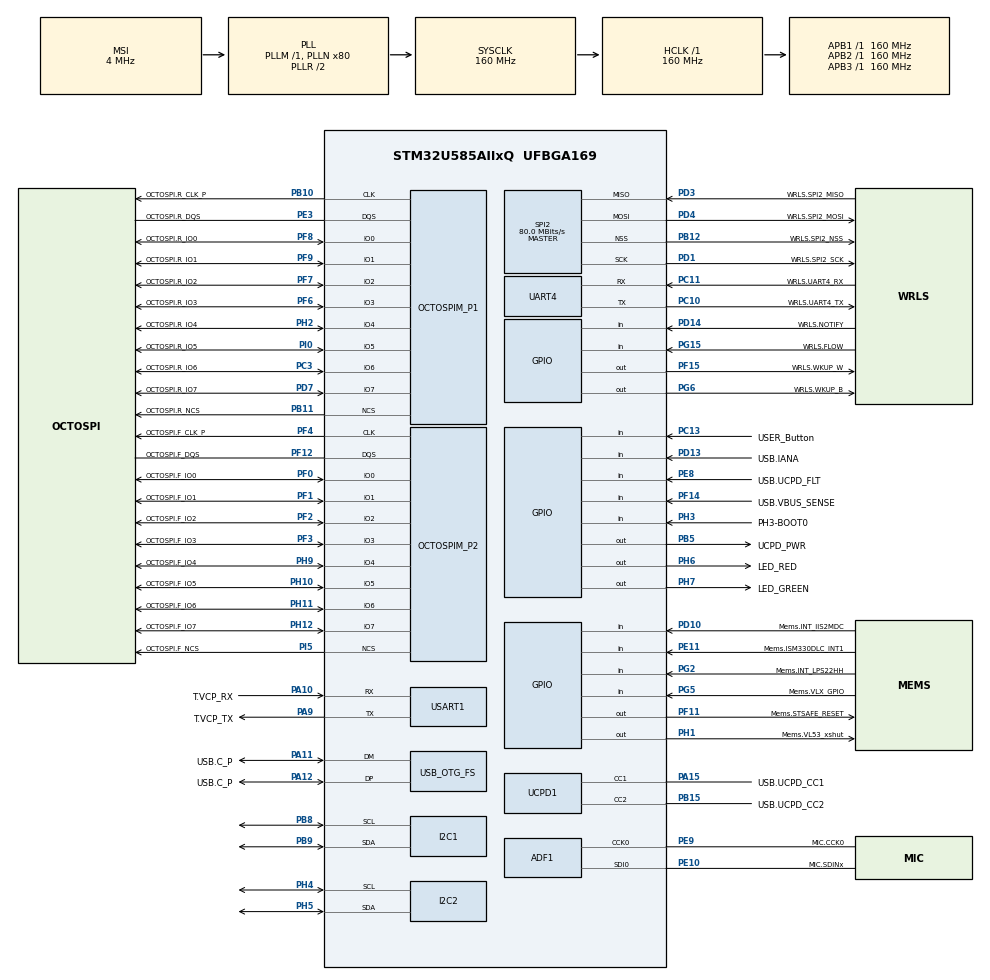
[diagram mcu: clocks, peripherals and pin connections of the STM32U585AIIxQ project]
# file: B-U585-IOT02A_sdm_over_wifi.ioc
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CORTEX_M33_NS.userName=CORTEX_M33
I2C1.Timing=0x30909DEC
I2C2.Timing=0x30909DEC
Mcu.Family=STM32U5
Mcu.Name=STM32U585AIIxQ
Mcu.Package=UFBGA169
NVIC.PriorityGroup=NVIC_PRIORITYGROUP_4
OCTOSPI1.ChipSelectBoundary=10
OCTOSPI1.ClockPrescaler=2
OCTOSPI1.DelayBlockBypass=HAL_OSPI_DELAY_BLOCK_USED
OCTOSPI1.DelayHoldQuarterCycle=HAL_OSPI_DHQC_ENABLE
OCTOSPI1.DeviceSize=23
OCTOSPI1.MemoryType=HAL_OSPI_MEMTYPE_APMEMORY
OCTOSPI1.Refresh=100
OCTOSPI2.ChipSelectBoundary=0
OCTOSPI2.ChipSelectHighTime=2
OCTOSPI2.ClockPrescaler=4
OCTOSPI2.DelayBlockBypass=HAL_OSPI_DELAY_BLOCK_USED
OCTOSPI2.DelayHoldQuarterCycle=HAL_OSPI_DHQC_ENABLE
OCTOSPI2.DeviceSize=26
OCTOSPI2.FifoThreshold=4
OCTOSPI2.MemoryType=HAL_OSPI_MEMTYPE_MACRONIX
PA10.GPIO_Label=T.VCP_RX
PA10.Mode=Asynchronous
PA10.Signal=USART1_RX
PA11.GPIO_Label=USB.C_P
PA11.Mode=Device_Only
PA11.Signal=USB_OTG_FS_DM
PA12.GPIO_Label=USB.C_P
PA12.Mode=Device_Only
PA12.Signal=USB_OTG_FS_DP
PA13\ (JTMS/SWDIO).GPIO_Label=T.SWDIO
PA13\ (JTMS/SWDIO).Mode=Trace_Asynchronous_SW
PA13\ (JTMS/SWDIO).Signal=DEBUG_JTMS-SWDIO
PA14\ (JTCK/SWCLK).GPIO_Label=T.SWCLK
PA14\ (JTCK/SWCLK).Mode=Trace_Asynchronous_SW
PA14\ (JTCK/SWCLK).Signal=DEBUG_JTCK-SWCLK
PA15\ (JTDI).GPIO_Label=USB.UCPD_CC1
PA15\ (JTDI).Mode=Dual_Role_AllSignals
PA15\ (JTDI).Signal=UCPD1_CC1
PA9.GPIO_Label=T.VCP_TX
PA9.Mode=Asynchronous
PA9.Signal=USART1_TX
PB1.GPIO_Label=MIC.SDIN0
PB1.Signal=MDF1_SDI0
PB10.GPIO_Label=OCTOSPI.R_CLK_P
PB10.Mode=O1_P1_CLK
PB10.Signal=OCTOSPIM_P1_CLK
PB11.GPIO_Label=OCTOSPI.R_NCS
PB11.Mode=OCTOSPI1_Port1_NCS
PB11.Signal=OCTOSPIM_P1_NCS
PB12.GPIO_Label=WRLS.SPI2_NSS
PB12.Mode=NSS_Signal_Hard_Output
PB12.Signal=SPI2_NSS
PB15.GPIO_Label=USB.UCPD_CC2
PB15.Mode=Dual_Role_AllSignals
PB15.Signal=UCPD1_CC2
PB3\ (JTDO/TRACESWO).GPIO_Label=T.SWO
PB3\ (JTDO/TRACESWO).Mode=Trace_Asynchronous_SW
PB3\ (JTDO/TRACESWO).Signal=DEBUG_JTDO-SWO
PB5.GPIO_Label=UCPD_PWR
PB5.Signal=GPIO_Output
PB8.Mode=I2C
PB8.Signal=I2C1_SCL
PB9.Mode=I2C
PB9.Signal=I2C1_SDA
PC10.GPIO_Label=WRLS.UART4_TX
PC10.Mode=Asynchronous
PC10.Signal=UART4_TX
PC11.GPIO_Label=WRLS.UART4_RX
PC11.Mode=Asynchronous
PC11.Signal=UART4_RX
PC13.GPIO_Label=USER_Button
PC13.Signal=GPIO_Input
PC14-OSC32_IN\ (PC14).GPIO_Label=PC14-OSC32_IN
PC14-OSC32_IN\ (PC14).Mode=LSE-External-Oscillator
PC14-OSC32_IN\ (PC14).Signal=RCC_OSC32_IN
PC15-OSC32_OUT\ (PC15).GPIO_Label=PC15-OSC32_OUT
PC15-OSC32_OUT\ (PC15).Mode=LSE-External-Oscillator
PC15-OSC32_OUT\ (PC15).Signal=RCC_OSC32_OUT
PC3.GPIO_Label=OCTOSPI.R_IO6
PC3.Mode=OCTOSPI1_IOH_Port1H
PC3.Signal=OCTOSPIM_P1_IO6
PD1.GPIO_Label=WRLS.SPI2_SCK
PD1.Mode=Full_Duplex_Master
PD1.Signal=SPI2_SCK
PD10.GPIO_Label=Mems.INT_IIS2MDC
PD10.Signal=GPIO_Input
PD13.GPIO_Label=USB.IANA
PD13.Signal=GPIO_Input
PD14.GPIO_Label=WRLS.NOTIFY
PD14.Signal=GPIO_Input
PD3.GPIO_Label=WRLS.SPI2_MISO
PD3.Mode=Full_Duplex_Master
PD3.Signal=SPI2_MISO
PD4.GPIO_Label=WRLS.SPI2_MOSI
PD4.Mode=Full_Duplex_Master
PD4.Signal=SPI2_MOSI
PD7.GPIO_Label=OCTOSPI.R_IO7
PD7.Mode=OCTOSPI1_IOH_Port1H
PD7.Signal=OCTOSPIM_P1_IO7
PE10.GPIO_Label=MIC.SDINx
PE10.Mode=MOD_ADF_CCK
PE10.Signal=ADF1_SDI0
PE11.GPIO_Label=Mems.ISM330DLC_INT1
PE11.Signal=GPIO_Input
PE3.GPIO_Label=OCTOSPI.R_DQS
PE3.Mode=OCTOSPI1_Port1_DQS
PE3.Signal=OCTOSPIM_P1_DQS
PE8.GPIO_Label=USB.UCPD_FLT
PE8.Signal=GPIO_Input
PE9.GPIO_Label=MIC.CCK0
PE9.Mode=MOD_MDF_CCK0
PE9.Signal=ADF1_CCK0
PF0.GPIO_Label=OCTOSPI.F_IO0
PF0.Mode=OCTOSPI2_IOL_Port2L
PF0.Signal=OCTOSPIM_P2_IO0
PF1.GPIO_Label=OCTOSPI.F_IO1
PF1.Mode=OCTOSPI2_IOL_Port2L
PF1.Signal=OCTOSPIM_P2_IO1
PF10.GPIO_Label=MIC.CCK1
PF10.Signal=MDF1_CCK1
PF11.GPIO_Label=Mems.STSAFE_RESET
PF11.Signal=GPIO_Output
PF12.GPIO_Label=OCTOSPI.F_DQS
PF12.Mode=OCTOSPI2_Port2_DQS
PF12.Signal=OCTOSPIM_P2_DQS
PF14.GPIO_Label=USB.VBUS_SENSE
PF14.Signal=GPIO_Input
PF15.GPIO_Label=WRLS.WKUP_W
PF15.Signal=GPIO_Output
PF2.GPIO_Label=OCTOSPI.F_IO2
PF2.Mode=OCTOSPI2_IOL_Port2L
PF2.Signal=OCTOSPIM_P2_IO2
PF3.GPIO_Label=OCTOSPI.F_IO3
PF3.Mode=OCTOSPI2_IOL_Port2L
PF3.Signal=OCTOSPIM_P2_IO3
PF4.GPIO_Label=OCTOSPI.F_CLK_P
PF4.Mode=O2_P2_CLK
PF4.Signal=OCTOSPIM_P2_CLK
PF6.GPIO_Label=OCTOSPI.R_IO3
PF6.Mode=OCTOSPI1_IOL_Port1L
PF6.Signal=OCTOSPIM_P1_IO3
PF7.GPIO_Label=OCTOSPI.R_IO2
PF7.Mode=OCTOSPI1_IOL_Port1L
PF7.Signal=OCTOSPIM_P1_IO2
PF8.GPIO_Label=OCTOSPI.R_IO0
PF8.Mode=OCTOSPI1_IOL_Port1L
PF8.Signal=OCTOSPIM_P1_IO0
PF9.GPIO_Label=OCTOSPI.R_IO1
PF9.Mode=OCTOSPI1_IOL_Port1L
PF9.Signal=OCTOSPIM_P1_IO1
PG15.GPIO_Label=WRLS.FLOW
PG15.Signal=GPIO_Input
PG2.GPIO_Label=Mems.INT_LPS22HH
PG2.Signal=GPIO_Input
PG5.GPIO_Label=Mems.VLX_GPIO
PG5.Signal=GPIO_Input
PG6.GPIO_Label=WRLS.WKUP_B
PG6.Signal=GPIO_Output
PH1-OSC_OUT\ (PH1).GPIO_Label=Mems.VL53_xshut
PH1-OSC_OUT\ (PH1).Signal=GPIO_Output
PH10.GPIO_Label=OCTOSPI.F_IO5
PH10.Mode=OCTOSPI2_IOH_Port2H
PH10.Signal=OCTOSPIM_P2_IO5
PH11.GPIO_Label=OCTOSPI.F_IO6
PH11.Mode=OCTOSPI2_IOH_Port2H
PH11.Signal=OCTOSPIM_P2_IO6
PH12.GPIO_Label=OCTOSPI.F_IO7
PH12.Mode=OCTOSPI2_IOH_Port2H
PH12.Signal=OCTOSPIM_P2_IO7
PH2.GPIO_Label=OCTOSPI.R_IO4
PH2.Mode=OCTOSPI1_IOH_Port1H
PH2.Signal=OCTOSPIM_P1_IO4
PH3-BOOT0.GPIO_Label=PH3-BOOT0
PH3-BOOT0.Signal=GPIO_Input
PH4.Mode=I2C
PH4.Signal=I2C2_SCL
PH5.Mode=I2C
PH5.Signal=I2C2_SDA
PH6.GPIO_Label=LED_RED
PH6.Signal=GPIO_Output
PH7.GPIO_Label=LED_GREEN
PH7.Signal=GPIO_Output
PH9.GPIO_Label=OCTOSPI.F_IO4
PH9.Mode=OCTOSPI2_IOH_Port2H
PH9.Signal=OCTOSPIM_P2_IO4
PI0.GPIO_Label=OCTOSPI.R_IO5
PI0.Mode=OCTOSPI1_IOH_Port1H
PI0.Signal=OCTOSPIM_P1_IO5
PI5.GPIO_Label=OCTOSPI.F_NCS
PI5.Mode=OCTOSPI2_Port2_NCS
PI5.Signal=OCTOSPIM_P2_NCS
PWR.PowerMode=PWR_SMPS_SUPPLY
ProjectManager.HeapSize=0x200
ProjectManager.StackSize=0x400
ProjectManager.TargetToolchain=STM32CubeIDE
RCC.ADCFreq_Value=16000000
RCC.AHBFreq_Value=160000000
RCC.APB1Freq_Value=160000000
RCC.APB1TimFreq_Value=160000000
RCC.APB2Freq_Value=160000000
RCC.APB2TimFreq_Value=160000000
RCC.APB3Freq_Value=160000000
RCC.CortexFreq_Value=160000000
RCC.DACCLockSelectionVirtual=RCC_DAC1CLKSOURCE_LSI
RCC.EPOD_VALUE=4000000
RCC.HCLKFreq_Value=160000000
RCC.HSE_VALUE=16000000
RCC.HSI48_VALUE=48000000
RCC.HSI_VALUE=16000000
RCC.LSIDIV_VALUE=32000
RCC.MSI_VALUE=4000000
RCC.PLLN=80
RCC.SYSCLKFreq_VALUE=160000000
RCC.SYSCLKSource=RCC_SYSCLKSOURCE_PLLCLK
RCC.USBFreq_Value=48000000
RCC.VCOOutputFreq_Value=320000000
SPI2.CalculateBaudRate=80.0 MBits/s
SPI2.Direction=SPI_DIRECTION_2LINES
SPI2.Mode=SPI_MODE_MASTER
SPI2.VirtualNSS=VM_NSSHARD
SPI2.VirtualType=VM_MASTER
USART1.VirtualMode-Asynchronous=VM_ASYNC
USB_OTG_FS.VirtualMode=Device_Only
VP_ICACHE_VS_ICACHE.Mode=DirectMappedCache
VP_LPBAMQUEUE_VS_QUEUE.Mode=QUEUEMODE
VP_LPBAM_VS_SIG1.Mode=SmartRun
VP_LPBAM_VS_SIG4.Mode=LPDMA1
VP_MEMORYMAP_VS_MEMORYMAP.Mode=CurAppReg
VP_OCTOSPI1_VS_octo.Mode=octo_mode
VP_OCTOSPI2_VS_octo.Mode=octo_mode
VP_PWR_VS_DBSignals.Mode=DisableDeadBatterySignals
VP_PWR_VS_LPOM.Mode=PowerOptimisation
VP_PWR_VS_SECSignals.Mode=Security/Privilege
board=B-U585I-IOT02A

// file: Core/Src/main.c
/* USER CODE BEGIN Header */
/**
  ******************************************************************************
  * @file           : main.c
  * @brief          : Main program body
  ******************************************************************************
  * @attention
  *
  * Copyright (c) 2024 STMicroelectronics.
  * All rights reserved.
  *
  * This software is licensed under terms that can be found in the LICENSE file
  * in the root directory of this software component.
  * If no LICENSE file comes with this software, it is provided AS-IS.
  *
  ******************************************************************************
  */
/* USER CODE END Header */
#include "main.h"

/* USER CODE BEGIN Includes */
#include "app.h"
#include "app_init.h"
/* USER CODE END Includes */

MDF_HandleTypeDef AdfHandle0;
MDF_FilterConfigTypeDef AdfFilterConfig0;

I2C_HandleTypeDef hi2c1;
I2C_HandleTypeDef hi2c2;

OSPI_HandleTypeDef hospi1;
OSPI_HandleTypeDef hospi2;

SPI_HandleTypeDef hspi2;

UART_HandleTypeDef huart4;
UART_HandleTypeDef huart1;

PCD_HandleTypeDef hpcd_USB_OTG_FS;

void SystemClock_Config(void);
static void SystemPower_Config(void);
static void MX_GPIO_Init(void);
static void MX_ADF1_Init(void);
static void MX_I2C1_Init(void);
static void MX_I2C2_Init(void);
static void MX_ICACHE_Init(void);
static void MX_OCTOSPI1_Init(void);
static void MX_OCTOSPI2_Init(void);
static void MX_SPI2_Init(void);
static void MX_UART4_Init(void);
static void MX_USART1_UART_Init(void);
static void MX_UCPD1_Init(void);
static void MX_USB_OTG_FS_PCD_Init(void);

int main(void)
{

  /* MCU Configuration--------------------------------------------------------*/

  /* Reset of all peripherals, Initializes the Flash interface and the Systick. */
  HAL_Init();

  /* Configure the system clock */
  SystemClock_Config();

  /* Configure the System Power */
  SystemPower_Config();

  /* Initialize all configured peripherals */
  MX_GPIO_Init();
  MX_ADF1_Init();
  MX_I2C1_Init();
  MX_I2C2_Init();
  MX_ICACHE_Init();
  MX_OCTOSPI1_Init();
  MX_OCTOSPI2_Init();
  MX_SPI2_Init();
  MX_UART4_Init();
  MX_USART1_UART_Init();
  MX_UCPD1_Init();
  MX_USB_OTG_FS_PCD_Init();

  /* Infinite loop */
  /* USER CODE BEGIN WHILE */

  int8_t init_status=module_init(); // initialization of the module

  if(init_status==0){
	  int8_t app_status=app_main(); // launching the application

	  if(app_status==0){
		  HAL_GPIO_TogglePin(GPIOH, GPIO_PIN_7); // if success --> turn on the green LED
	  }
	  else {
		  HAL_GPIO_TogglePin(GPIOH, GPIO_PIN_6); // if an error occurred --> turn on the red LED
	  }
  }

  while (1)
  {
    /* USER CODE END WHILE */

  }
}

void SystemClock_Config(void)
{
  RCC_OscInitTypeDef RCC_OscInitStruct = {0};
  RCC_ClkInitTypeDef RCC_ClkInitStruct = {0};

  /** Configure the main internal regulator output voltage
  */
  if (HAL_PWREx_ControlVoltageScaling(PWR_REGULATOR_VOLTAGE_SCALE1) != HAL_OK)
  {
    Error_Handler();
  }

  /** Initializes the CPU, AHB and APB buses clocks
  */
  RCC_OscInitStruct.OscillatorType = RCC_OSCILLATORTYPE_HSI48|RCC_OSCILLATORTYPE_HSI
                              |RCC_OSCILLATORTYPE_MSI;
  RCC_OscInitStruct.HSIState = RCC_HSI_ON;
  RCC_OscInitStruct.HSI48State = RCC_HSI48_ON;
  RCC_OscInitStruct.HSICalibrationValue = RCC_HSICALIBRATION_DEFAULT;
  RCC_OscInitStruct.MSIState = RCC_MSI_ON;
  RCC_OscInitStruct.MSICalibrationValue = RCC_MSICALIBRATION_DEFAULT;
  RCC_OscInitStruct.MSIClockRange = RCC_MSIRANGE_4;
  RCC_OscInitStruct.PLL.PLLState = RCC_PLL_ON;
  RCC_OscInitStruct.PLL.PLLSource = RCC_PLLSOURCE_MSI;
  RCC_OscInitStruct.PLL.PLLMBOOST = RCC_PLLMBOOST_DIV1;
  RCC_OscInitStruct.PLL.PLLM = 1;
  RCC_OscInitStruct.PLL.PLLN = 80;
  RCC_OscInitStruct.PLL.PLLP = 2;
  RCC_OscInitStruct.PLL.PLLQ = 2;
  RCC_OscInitStruct.PLL.PLLR = 2;
  RCC_OscInitStruct.PLL.PLLRGE = RCC_PLLVCIRANGE_0;
  RCC_OscInitStruct.PLL.PLLFRACN = 0;
  if (HAL_RCC_OscConfig(&RCC_OscInitStruct) != HAL_OK)
  {
    Error_Handler();
  }

  /** Initializes the CPU, AHB and APB buses clocks
  */
  RCC_ClkInitStruct.ClockType = RCC_CLOCKTYPE_HCLK|RCC_CLOCKTYPE_SYSCLK
                              |RCC_CLOCKTYPE_PCLK1|RCC_CLOCKTYPE_PCLK2
                              |RCC_CLOCKTYPE_PCLK3;
  RCC_ClkInitStruct.SYSCLKSource = RCC_SYSCLKSOURCE_PLLCLK;
  RCC_ClkInitStruct.AHBCLKDivider = RCC_SYSCLK_DIV1;
  RCC_ClkInitStruct.APB1CLKDivider = RCC_HCLK_DIV1;
  RCC_ClkInitStruct.APB2CLKDivider = RCC_HCLK_DIV1;
  RCC_ClkInitStruct.APB3CLKDivider = RCC_HCLK_DIV1;

  if (HAL_RCC_ClockConfig(&RCC_ClkInitStruct, FLASH_LATENCY_4) != HAL_OK)
  {
    Error_Handler();
  }
}

/**
  * @brief Power Configuration
  * @retval None
  */
static void SystemPower_Config(void)
{
  HAL_PWREx_EnableVddIO2();

  /*
   * Switch to SMPS regulator instead of LDO
   */
  if (HAL_PWREx_ConfigSupply(PWR_SMPS_SUPPLY) != HAL_OK)
  {
    Error_Handler();
  }
}

static void MX_ADF1_Init(void)
{

  /**
    AdfHandle0 structure initialization and HAL_MDF_Init function call
  */
  AdfHandle0.Instance = ADF1_Filter0;
  AdfHandle0.Init.CommonParam.ProcClockDivider = 1;
  AdfHandle0.Init.CommonParam.OutputClock.Activation = DISABLE;
  AdfHandle0.Init.SerialInterface.Activation = ENABLE;
  AdfHandle0.Init.SerialInterface.Mode = MDF_SITF_LF_MASTER_SPI_MODE;
  AdfHandle0.Init.SerialInterface.ClockSource = MDF_SITF_CCK0_SOURCE;
  AdfHandle0.Init.SerialInterface.Threshold = 4;
  AdfHandle0.Init.FilterBistream = MDF_BITSTREAM0_FALLING;
  if (HAL_MDF_Init(&AdfHandle0) != HAL_OK)
  {
    Error_Handler();
  }

  /**
    AdfFilterConfig0 structure initialization

    WARNING : only structure is filled, no specific init function call for filter
  */
  AdfFilterConfig0.DataSource = MDF_DATA_SOURCE_BSMX;
  AdfFilterConfig0.Delay = 0;
  AdfFilterConfig0.CicMode = MDF_ONE_FILTER_SINC4;
  AdfFilterConfig0.DecimationRatio = 2;
  AdfFilterConfig0.Gain = 0;
  AdfFilterConfig0.ReshapeFilter.Activation = DISABLE;
  AdfFilterConfig0.HighPassFilter.Activation = DISABLE;
  AdfFilterConfig0.SoundActivity.Activation = DISABLE;
  AdfFilterConfig0.AcquisitionMode = MDF_MODE_ASYNC_CONT;
  AdfFilterConfig0.FifoThreshold = MDF_FIFO_THRESHOLD_NOT_EMPTY;
  AdfFilterConfig0.DiscardSamples = 0;

}

static void MX_I2C1_Init(void)
{

  hi2c1.Instance = I2C1;
  hi2c1.Init.Timing = 0x30909DEC;
  hi2c1.Init.OwnAddress1 = 0;
  hi2c1.Init.AddressingMode = I2C_ADDRESSINGMODE_7BIT;
  hi2c1.Init.DualAddressMode = I2C_DUALADDRESS_DISABLE;
  hi2c1.Init.OwnAddress2 = 0;
  hi2c1.Init.OwnAddress2Masks = I2C_OA2_NOMASK;
  hi2c1.Init.GeneralCallMode = I2C_GENERALCALL_DISABLE;
  hi2c1.Init.NoStretchMode = I2C_NOSTRETCH_DISABLE;
  if (HAL_I2C_Init(&hi2c1) != HAL_OK)
  {
    Error_Handler();
  }

  /** Configure Analogue filter
  */
  if (HAL_I2CEx_ConfigAnalogFilter(&hi2c1, I2C_ANALOGFILTER_ENABLE) != HAL_OK)
  {
    Error_Handler();
  }

  /** Configure Digital filter
  */
  if (HAL_I2CEx_ConfigDigitalFilter(&hi2c1, 0) != HAL_OK)
  {
    Error_Handler();
  }

}

static void MX_I2C2_Init(void)
{

  hi2c2.Instance = I2C2;
  hi2c2.Init.Timing = 0x30909DEC;
  hi2c2.Init.OwnAddress1 = 0;
  hi2c2.Init.AddressingMode = I2C_ADDRESSINGMODE_7BIT;
  hi2c2.Init.DualAddressMode = I2C_DUALADDRESS_DISABLE;
  hi2c2.Init.OwnAddress2 = 0;
  hi2c2.Init.OwnAddress2Masks = I2C_OA2_NOMASK;
  hi2c2.Init.GeneralCallMode = I2C_GENERALCALL_DISABLE;
  hi2c2.Init.NoStretchMode = I2C_NOSTRETCH_DISABLE;
  if (HAL_I2C_Init(&hi2c2) != HAL_OK)
  {
    Error_Handler();
  }

  /** Configure Analogue filter
  */
  if (HAL_I2CEx_ConfigAnalogFilter(&hi2c2, I2C_ANALOGFILTER_ENABLE) != HAL_OK)
  {
    Error_Handler();
  }

  /** Configure Digital filter
  */
  if (HAL_I2CEx_ConfigDigitalFilter(&hi2c2, 0) != HAL_OK)
  {
    Error_Handler();
  }

}

static void MX_ICACHE_Init(void)
{

  /** Enable instruction cache in 1-way (direct mapped cache)
  */
  if (HAL_ICACHE_ConfigAssociativityMode(ICACHE_1WAY) != HAL_OK)
  {
    Error_Handler();
  }
  if (HAL_ICACHE_Enable() != HAL_OK)
  {
    Error_Handler();
  }

}

static void MX_OCTOSPI1_Init(void)
{

  OSPIM_CfgTypeDef sOspiManagerCfg = {0};
  HAL_OSPI_DLYB_CfgTypeDef HAL_OSPI_DLYB_Cfg_Struct = {0};

  /* OCTOSPI1 parameter configuration*/
  hospi1.Instance = OCTOSPI1;
  hospi1.Init.FifoThreshold = 1;
  hospi1.Init.DualQuad = HAL_OSPI_DUALQUAD_DISABLE;
  hospi1.Init.MemoryType = HAL_OSPI_MEMTYPE_APMEMORY;
  hospi1.Init.DeviceSize = 23;
  hospi1.Init.ChipSelectHighTime = 1;
  hospi1.Init.FreeRunningClock = HAL_OSPI_FREERUNCLK_DISABLE;
  hospi1.Init.ClockMode = HAL_OSPI_CLOCK_MODE_0;
  hospi1.Init.WrapSize = HAL_OSPI_WRAP_NOT_SUPPORTED;
  hospi1.Init.ClockPrescaler = 2;
  hospi1.Init.SampleShifting = HAL_OSPI_SAMPLE_SHIFTING_NONE;
  hospi1.Init.DelayHoldQuarterCycle = HAL_OSPI_DHQC_ENABLE;
  hospi1.Init.ChipSelectBoundary = 10;
  hospi1.Init.DelayBlockBypass = HAL_OSPI_DELAY_BLOCK_USED;
  hospi1.Init.MaxTran = 0;
  hospi1.Init.Refresh = 100;
  if (HAL_OSPI_Init(&hospi1) != HAL_OK)
  {
    Error_Handler();
  }
  sOspiManagerCfg.ClkPort = 1;
  sOspiManagerCfg.DQSPort = 1;
  sOspiManagerCfg.NCSPort = 1;
  sOspiManagerCfg.IOLowPort = HAL_OSPIM_IOPORT_1_LOW;
  sOspiManagerCfg.IOHighPort = HAL_OSPIM_IOPORT_1_HIGH;
  if (HAL_OSPIM_Config(&hospi1, &sOspiManagerCfg, HAL_OSPI_TIMEOUT_DEFAULT_VALUE) != HAL_OK)
  {
    Error_Handler();
  }
  HAL_OSPI_DLYB_Cfg_Struct.Units = 0;
  HAL_OSPI_DLYB_Cfg_Struct.PhaseSel = 0;
  if (HAL_OSPI_DLYB_SetConfig(&hospi1, &HAL_OSPI_DLYB_Cfg_Struct) != HAL_OK)
  {
    Error_Handler();
  }

}

static void MX_OCTOSPI2_Init(void)
{

  OSPIM_CfgTypeDef sOspiManagerCfg = {0};
  HAL_OSPI_DLYB_CfgTypeDef HAL_OSPI_DLYB_Cfg_Struct = {0};

  /* OCTOSPI2 parameter configuration*/
  hospi2.Instance = OCTOSPI2;
  hospi2.Init.FifoThreshold = 4;
  hospi2.Init.DualQuad = HAL_OSPI_DUALQUAD_DISABLE;
  hospi2.Init.MemoryType = HAL_OSPI_MEMTYPE_MACRONIX;
  hospi2.Init.DeviceSize = 26;
  hospi2.Init.ChipSelectHighTime = 2;
  hospi2.Init.FreeRunningClock = HAL_OSPI_FREERUNCLK_DISABLE;
  hospi2.Init.ClockMode = HAL_OSPI_CLOCK_MODE_0;
  hospi2.Init.WrapSize = HAL_OSPI_WRAP_NOT_SUPPORTED;
  hospi2.Init.ClockPrescaler = 4;
  hospi2.Init.SampleShifting = HAL_OSPI_SAMPLE_SHIFTING_NONE;
  hospi2.Init.DelayHoldQuarterCycle = HAL_OSPI_DHQC_ENABLE;
  hospi2.Init.ChipSelectBoundary = 0;
  hospi2.Init.DelayBlockBypass = HAL_OSPI_DELAY_BLOCK_USED;
  hospi2.Init.MaxTran = 0;
  hospi2.Init.Refresh = 0;
  if (HAL_OSPI_Init(&hospi2) != HAL_OK)
  {
    Error_Handler();
  }
  sOspiManagerCfg.ClkPort = 2;
  sOspiManagerCfg.DQSPort = 2;
  sOspiManagerCfg.NCSPort = 2;
  sOspiManagerCfg.IOLowPort = HAL_OSPIM_IOPORT_2_LOW;
  sOspiManagerCfg.IOHighPort = HAL_OSPIM_IOPORT_2_HIGH;
  if (HAL_OSPIM_Config(&hospi2, &sOspiManagerCfg, HAL_OSPI_TIMEOUT_DEFAULT_VALUE) != HAL_OK)
  {
    Error_Handler();
  }
  HAL_OSPI_DLYB_Cfg_Struct.Units = 0;
  HAL_OSPI_DLYB_Cfg_Struct.PhaseSel = 0;
  if (HAL_OSPI_DLYB_SetConfig(&hospi2, &HAL_OSPI_DLYB_Cfg_Struct) != HAL_OK)
  {
    Error_Handler();
  }

}

static void MX_SPI2_Init(void)
{

  // SPI_AutonomousModeConfTypeDef HAL_SPI_AutonomousMode_Cfg_Struct = {0};

  /* SPI2 parameter configuration*/
  /*hspi2.Instance = SPI2;
  hspi2.Init.Mode = SPI_MODE_MASTER;
  hspi2.Init.Direction = SPI_DIRECTION_2LINES;
  hspi2.Init.DataSize = SPI_DATASIZE_4BIT;
  hspi2.Init.CLKPolarity = SPI_POLARITY_LOW;
  hspi2.Init.CLKPhase = SPI_PHASE_1EDGE;
  hspi2.Init.NSS = SPI_NSS_HARD_OUTPUT;
  hspi2.Init.BaudRatePrescaler = SPI_BAUDRATEPRESCALER_2;
  hspi2.Init.FirstBit = SPI_FIRSTBIT_MSB;
  hspi2.Init.TIMode = SPI_TIMODE_DISABLE;
  hspi2.Init.CRCCalculation = SPI_CRCCALCULATION_DISABLE;
  hspi2.Init.CRCPolynomial = 0x7;
  hspi2.Init.NSSPMode = SPI_NSS_PULSE_ENABLE;
  hspi2.Init.NSSPolarity = SPI_NSS_POLARITY_LOW;
  hspi2.Init.FifoThreshold = SPI_FIFO_THRESHOLD_01DATA;
  hspi2.Init.MasterSSIdleness = SPI_MASTER_SS_IDLENESS_00CYCLE;
  hspi2.Init.MasterInterDataIdleness = SPI_MASTER_INTERDATA_IDLENESS_00CYCLE;
  hspi2.Init.MasterReceiverAutoSusp = SPI_MASTER_RX_AUTOSUSP_DISABLE;
  hspi2.Init.MasterKeepIOState = SPI_MASTER_KEEP_IO_STATE_DISABLE;
  hspi2.Init.IOSwap = SPI_IO_SWAP_DISABLE;
  hspi2.Init.ReadyMasterManagement = SPI_RDY_MASTER_MANAGEMENT_INTERNALLY;
  hspi2.Init.ReadyPolarity = SPI_RDY_POLARITY_HIGH;
  if (HAL_SPI_Init(&hspi2) != HAL_OK)
  {
    Error_Handler();
  }
  HAL_SPI_AutonomousMode_Cfg_Struct.TriggerState = SPI_AUTO_MODE_DISABLE;
  HAL_SPI_AutonomousMode_Cfg_Struct.TriggerSelection = SPI_GRP1_GPDMA_CH0_TCF_TRG;
  HAL_SPI_AutonomousMode_Cfg_Struct.TriggerPolarity = SPI_TRIG_POLARITY_RISING;
  if (HAL_SPIEx_SetConfigAutonomousMode(&hspi2, &HAL_SPI_AutonomousMode_Cfg_Struct) != HAL_OK)
  {
    Error_Handler();
  }*/
  /* USER CODE BEGIN SPI2_Init 2 */
	  /* Set SPI instance */
	  hspi2.Instance                        = SPI2;

	  /* Set parameter to be configured */
	  hspi2.Init.Mode                       = SPI_MODE_MASTER;
	  hspi2.Init.Direction                  = SPI_DIRECTION_2LINES;
	  hspi2.Init.DataSize                   = SPI_DATASIZE_8BIT;
	  hspi2.Init.CLKPolarity                = SPI_POLARITY_LOW;
	  hspi2.Init.CLKPhase                   = SPI_PHASE_1EDGE;
	  hspi2.Init.NSS                        = SPI_NSS_SOFT;
	  hspi2.Init.BaudRatePrescaler          = SPI_BAUDRATEPRESCALER_64;
	  hspi2.Init.FirstBit                   = SPI_FIRSTBIT_MSB;
	  hspi2.Init.TIMode                     = SPI_TIMODE_DISABLE;
	  hspi2.Init.CRCCalculation             = SPI_CRCCALCULATION_DISABLE;
	  hspi2.Init.CRCPolynomial              = 0x7;
	  hspi2.Init.NSSPMode                   = SPI_NSS_PULSE_DISABLE;
	  hspi2.Init.NSSPolarity                = SPI_NSS_POLARITY_LOW;
	  hspi2.Init.FifoThreshold              = SPI_FIFO_THRESHOLD_01DATA;
	  hspi2.Init.MasterSSIdleness           = SPI_MASTER_SS_IDLENESS_00CYCLE;
	  hspi2.Init.MasterInterDataIdleness    = SPI_MASTER_INTERDATA_IDLENESS_00CYCLE;
	  hspi2.Init.MasterReceiverAutoSusp     = SPI_MASTER_RX_AUTOSUSP_DISABLE;
	  hspi2.Init.MasterKeepIOState          = SPI_MASTER_KEEP_IO_STATE_DISABLE;
	  hspi2.Init.IOSwap                     = SPI_IO_SWAP_DISABLE;
	  hspi2.Init.ReadyMasterManagement      = SPI_RDY_MASTER_MANAGEMENT_INTERNALLY;
	  hspi2.Init.ReadyPolarity              = SPI_RDY_POLARITY_HIGH;

	  /* SPI initialization */
	  if (HAL_SPI_Init(&hspi2) != HAL_OK)
	  {
	    // return PERIPH_ERROR;
	  }
  /* USER CODE END SPI2_Init 2 */

}

static void MX_UART4_Init(void)
{

  huart4.Instance = UART4;
  huart4.Init.BaudRate = 115200;
  huart4.Init.WordLength = UART_WORDLENGTH_8B;
  huart4.Init.StopBits = UART_STOPBITS_1;
  huart4.Init.Parity = UART_PARITY_NONE;
  huart4.Init.Mode = UART_MODE_TX_RX;
  huart4.Init.HwFlowCtl = UART_HWCONTROL_NONE;
  huart4.Init.OverSampling = UART_OVERSAMPLING_16;
  huart4.Init.OneBitSampling = UART_ONE_BIT_SAMPLE_DISABLE;
  huart4.Init.ClockPrescaler = UART_PRESCALER_DIV1;
  huart4.AdvancedInit.AdvFeatureInit = UART_ADVFEATURE_NO_INIT;
  if (HAL_UART_Init(&huart4) != HAL_OK)
  {
    Error_Handler();
  }
  if (HAL_UARTEx_SetTxFifoThreshold(&huart4, UART_TXFIFO_THRESHOLD_1_8) != HAL_OK)
  {
    Error_Handler();
  }
  if (HAL_UARTEx_SetRxFifoThreshold(&huart4, UART_RXFIFO_THRESHOLD_1_8) != HAL_OK)
  {
    Error_Handler();
  }
  if (HAL_UARTEx_DisableFifoMode(&huart4) != HAL_OK)
  {
    Error_Handler();
  }

}

static void MX_USART1_UART_Init(void)
{

  huart1.Instance = USART1;
  huart1.Init.BaudRate = 115200;
  huart1.Init.WordLength = UART_WORDLENGTH_8B;
  huart1.Init.StopBits = UART_STOPBITS_1;
  huart1.Init.Parity = UART_PARITY_NONE;
  huart1.Init.Mode = UART_MODE_TX_RX;
  huart1.Init.HwFlowCtl = UART_HWCONTROL_NONE;
  huart1.Init.OverSampling = UART_OVERSAMPLING_16;
  huart1.Init.OneBitSampling = UART_ONE_BIT_SAMPLE_DISABLE;
  huart1.Init.ClockPrescaler = UART_PRESCALER_DIV1;
  huart1.AdvancedInit.AdvFeatureInit = UART_ADVFEATURE_NO_INIT;
  if (HAL_UART_Init(&huart1) != HAL_OK)
  {
    Error_Handler();
  }
  if (HAL_UARTEx_SetTxFifoThreshold(&huart1, UART_TXFIFO_THRESHOLD_1_8) != HAL_OK)
  {
    Error_Handler();
  }
  if (HAL_UARTEx_SetRxFifoThreshold(&huart1, UART_RXFIFO_THRESHOLD_1_8) != HAL_OK)
  {
    Error_Handler();
  }
  if (HAL_UARTEx_DisableFifoMode(&huart1) != HAL_OK)
  {
    Error_Handler();
  }

}

static void MX_UCPD1_Init(void)
{

  LL_GPIO_InitTypeDef GPIO_InitStruct = {0};

  /* Peripheral clock enable */
  LL_APB1_GRP2_EnableClock(LL_APB1_GRP2_PERIPH_UCPD1);

  LL_AHB2_GRP1_EnableClock(LL_AHB2_GRP1_PERIPH_GPIOA);
  LL_AHB2_GRP1_EnableClock(LL_AHB2_GRP1_PERIPH_GPIOB);
  /**UCPD1 GPIO Configuration
  PA15 (JTDI)   ------> UCPD1_CC1
  PB15   ------> UCPD1_CC2
  */
  GPIO_InitStruct.Pin = LL_GPIO_PIN_15;
  GPIO_InitStruct.Mode = LL_GPIO_MODE_ANALOG;
  GPIO_InitStruct.Pull = LL_GPIO_PULL_NO;
  LL_GPIO_Init(GPIOA, &GPIO_InitStruct);

  GPIO_InitStruct.Pin = LL_GPIO_PIN_15;
  GPIO_InitStruct.Mode = LL_GPIO_MODE_ANALOG;
  GPIO_InitStruct.Pull = LL_GPIO_PULL_NO;
  LL_GPIO_Init(GPIOB, &GPIO_InitStruct);

}

static void MX_USB_OTG_FS_PCD_Init(void)
{

  hpcd_USB_OTG_FS.Instance = USB_OTG_FS;
  hpcd_USB_OTG_FS.Init.dev_endpoints = 6;
  hpcd_USB_OTG_FS.Init.speed = PCD_SPEED_FULL;
  hpcd_USB_OTG_FS.Init.phy_itface = PCD_PHY_EMBEDDED;
  hpcd_USB_OTG_FS.Init.Sof_enable = DISABLE;
  hpcd_USB_OTG_FS.Init.low_power_enable = DISABLE;
  hpcd_USB_OTG_FS.Init.lpm_enable = DISABLE;
  hpcd_USB_OTG_FS.Init.battery_charging_enable = DISABLE;
  hpcd_USB_OTG_FS.Init.use_dedicated_ep1 = DISABLE;
  hpcd_USB_OTG_FS.Init.vbus_sensing_enable = DISABLE;
  hpcd_USB_OTG_FS.Init.dma_enable = DISABLE;
  if (HAL_PCD_Init(&hpcd_USB_OTG_FS) != HAL_OK)
  {
    Error_Handler();
  }

}

static void MX_GPIO_Init(void)
{
  GPIO_InitTypeDef GPIO_InitStruct = {0};

  /* GPIO Ports Clock Enable */
  __HAL_RCC_GPIOG_CLK_ENABLE();
  __HAL_RCC_GPIOC_CLK_ENABLE();
  __HAL_RCC_GPIOA_CLK_ENABLE();
  __HAL_RCC_GPIOI_CLK_ENABLE();
  __HAL_RCC_GPIOH_CLK_ENABLE();
  __HAL_RCC_GPIOB_CLK_ENABLE();
  __HAL_RCC_GPIOD_CLK_ENABLE();
  __HAL_RCC_GPIOE_CLK_ENABLE();
  __HAL_RCC_GPIOF_CLK_ENABLE();

  /*Configure GPIO pin Output Level */
  HAL_GPIO_WritePin(UCPD_PWR_GPIO_Port, UCPD_PWR_Pin, GPIO_PIN_RESET);

  /*Configure GPIO pin Output Level */
  HAL_GPIO_WritePin(GPIOH, LED_RED_Pin|LED_GREEN_Pin|Mems_VL53_xshut_Pin, GPIO_PIN_RESET);

  /*Configure GPIO pin Output Level */
  HAL_GPIO_WritePin(WRLS_WKUP_B_GPIO_Port, WRLS_WKUP_B_Pin, GPIO_PIN_RESET);

  /*Configure GPIO pin Output Level */
  HAL_GPIO_WritePin(GPIOF, Mems_STSAFE_RESET_Pin|WRLS_WKUP_W_Pin, GPIO_PIN_RESET);

  /*Configure GPIO pins : WRLS_FLOW_Pin Mems_VLX_GPIO_Pin Mems_INT_LPS22HH_Pin */
  GPIO_InitStruct.Pin = WRLS_FLOW_Pin|Mems_VLX_GPIO_Pin|Mems_INT_LPS22HH_Pin;
  GPIO_InitStruct.Mode = GPIO_MODE_INPUT;
  GPIO_InitStruct.Pull = GPIO_NOPULL;
  HAL_GPIO_Init(GPIOG, &GPIO_InitStruct);

  /*Configure GPIO pin : PH3_BOOT0_Pin */
  GPIO_InitStruct.Pin = PH3_BOOT0_Pin;
  GPIO_InitStruct.Mode = GPIO_MODE_INPUT;
  GPIO_InitStruct.Pull = GPIO_NOPULL;
  HAL_GPIO_Init(PH3_BOOT0_GPIO_Port, &GPIO_InitStruct);

  /*Configure GPIO pin : UCPD_PWR_Pin */
  GPIO_InitStruct.Pin = UCPD_PWR_Pin;
  GPIO_InitStruct.Mode = GPIO_MODE_OUTPUT_PP;
  GPIO_InitStruct.Pull = GPIO_NOPULL;
  GPIO_InitStruct.Speed = GPIO_SPEED_FREQ_LOW;
  HAL_GPIO_Init(UCPD_PWR_GPIO_Port, &GPIO_InitStruct);

  /*Configure GPIO pin : USER_Button_Pin */
  GPIO_InitStruct.Pin = USER_Button_Pin;
  GPIO_InitStruct.Mode = GPIO_MODE_INPUT;
  GPIO_InitStruct.Pull = GPIO_NOPULL;
  HAL_GPIO_Init(USER_Button_GPIO_Port, &GPIO_InitStruct);

  /*Configure GPIO pins : LED_RED_Pin LED_GREEN_Pin Mems_VL53_xshut_Pin */
  GPIO_InitStruct.Pin = LED_RED_Pin|LED_GREEN_Pin|Mems_VL53_xshut_Pin;
  GPIO_InitStruct.Mode = GPIO_MODE_OUTPUT_PP;
  GPIO_InitStruct.Pull = GPIO_NOPULL;
  GPIO_InitStruct.Speed = GPIO_SPEED_FREQ_LOW;
  HAL_GPIO_Init(GPIOH, &GPIO_InitStruct);

  /*Configure GPIO pin : MIC_CCK1_Pin */
  GPIO_InitStruct.Pin = MIC_CCK1_Pin;
  GPIO_InitStruct.Mode = GPIO_MODE_AF_PP;
  GPIO_InitStruct.Pull = GPIO_NOPULL;
  GPIO_InitStruct.Speed = GPIO_SPEED_FREQ_LOW;
  GPIO_InitStruct.Alternate = GPIO_AF6_MDF1;
  HAL_GPIO_Init(MIC_CCK1_GPIO_Port, &GPIO_InitStruct);

  /*Configure GPIO pin : WRLS_WKUP_B_Pin */
  GPIO_InitStruct.Pin = WRLS_WKUP_B_Pin;
  GPIO_InitStruct.Mode = GPIO_MODE_OUTPUT_PP;
  GPIO_InitStruct.Pull = GPIO_NOPULL;
  GPIO_InitStruct.Speed = GPIO_SPEED_FREQ_LOW;
  HAL_GPIO_Init(WRLS_WKUP_B_GPIO_Port, &GPIO_InitStruct);

  /*Configure GPIO pins : WRLS_NOTIFY_Pin Mems_INT_IIS2MDC_Pin USB_IANA_Pin */
  GPIO_InitStruct.Pin = WRLS_NOTIFY_Pin|Mems_INT_IIS2MDC_Pin|USB_IANA_Pin;
  GPIO_InitStruct.Mode = GPIO_MODE_INPUT;
  GPIO_InitStruct.Pull = GPIO_NOPULL;
  HAL_GPIO_Init(GPIOD, &GPIO_InitStruct);

  /*Configure GPIO pins : USB_UCPD_FLT_Pin Mems_ISM330DLC_INT1_Pin */
  GPIO_InitStruct.Pin = USB_UCPD_FLT_Pin|Mems_ISM330DLC_INT1_Pin;
  GPIO_InitStruct.Mode = GPIO_MODE_INPUT;
  GPIO_InitStruct.Pull = GPIO_NOPULL;
  HAL_GPIO_Init(GPIOE, &GPIO_InitStruct);

  /*Configure GPIO pin : USB_VBUS_SENSE_Pin */
  GPIO_InitStruct.Pin = USB_VBUS_SENSE_Pin;
  GPIO_InitStruct.Mode = GPIO_MODE_INPUT;
  GPIO_InitStruct.Pull = GPIO_NOPULL;
  HAL_GPIO_Init(USB_VBUS_SENSE_GPIO_Port, &GPIO_InitStruct);

  /*Configure GPIO pins : Mems_STSAFE_RESET_Pin WRLS_WKUP_W_Pin */
  GPIO_InitStruct.Pin = Mems_STSAFE_RESET_Pin|WRLS_WKUP_W_Pin;
  GPIO_InitStruct.Mode = GPIO_MODE_OUTPUT_PP;
  GPIO_InitStruct.Pull = GPIO_NOPULL;
  GPIO_InitStruct.Speed = GPIO_SPEED_FREQ_LOW;
  HAL_GPIO_Init(GPIOF, &GPIO_InitStruct);

  /*Configure GPIO pin : MIC_SDIN0_Pin */
  GPIO_InitStruct.Pin = MIC_SDIN0_Pin;
  GPIO_InitStruct.Mode = GPIO_MODE_AF_PP;
  GPIO_InitStruct.Pull = GPIO_NOPULL;
  GPIO_InitStruct.Speed = GPIO_SPEED_FREQ_LOW;
  GPIO_InitStruct.Alternate = GPIO_AF6_MDF1;
  HAL_GPIO_Init(MIC_SDIN0_GPIO_Port, &GPIO_InitStruct);

}

void Error_Handler(void)
{
  __disable_irq();
  while (1)
  {
  }
}
